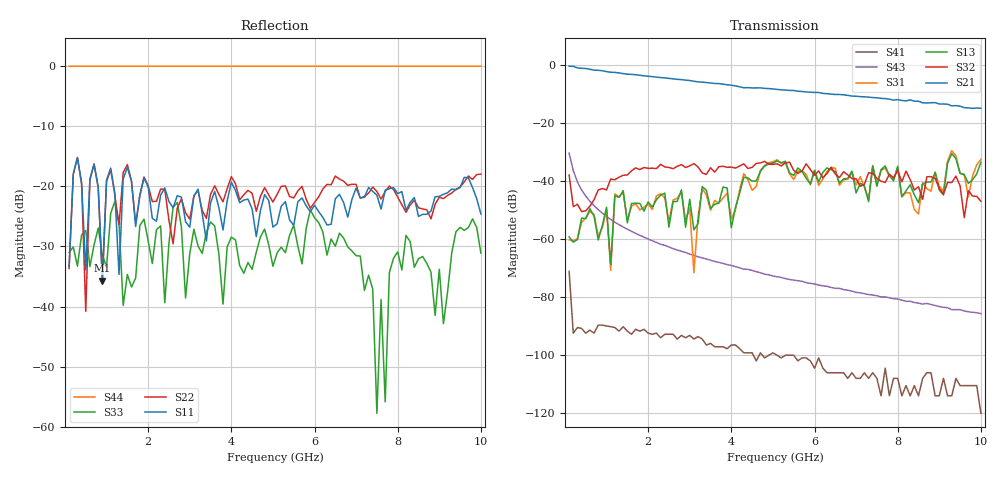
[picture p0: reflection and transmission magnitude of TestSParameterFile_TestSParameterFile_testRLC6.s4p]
# MHz MA S R 50.0
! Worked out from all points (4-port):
!   100 points, 100 MHz to 10 GHz, reference 50 ohm
!   strongest paths, dB at 100 MHz, 2.6 GHz, 5.1 GHz, 7.6 GHz, 10 GHz:
!     S21: -0.4, -4.8, -8.4, -11.5, -14.9
!     S32: -38.0, -35.7, -34.0, -40.0, -46.9
!     S13: -59.2, -47.1, -33.1, -36.0, -33.6
!     S31: -60.2, -46.5, -32.7, -36.2, -32.5
!     S43: -30.4, -63.3, -73.0, -79.9, -85.7
!     S41: -71.1, -92.8, -100.0, -114.0, -120.0
!   lowest |S11| = -35.7 dB at 900 MHz (marker M1), VSWR 1.03, Z = 49.2 - j1.39 ohm
!   |S11| at or under -10 dB: start of sweep to end of sweep
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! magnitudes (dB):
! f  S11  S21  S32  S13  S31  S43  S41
! 100 MHz  -33.3  -0.4  -38.0  -59.2  -60.2  -30.4  -71.1
! 900 MHz  -35.7  -2.0  -42.6  -55.3  -56.0  -51.1  -89.6
! 3.1 GHz  -21.6  -5.6  -34.0  -56.8  -71.6  -65.6  -94.4
! 5.9 GHz  -24.2  -9.4  -36.0  -41.0  -41.3  -75.2  -101.9
! 7.5 GHz  -21.5  -11.3  -39.1  -41.8  -41.4  -79.5  -108.0
! 8.2 GHz  -24.0  -12.4  -36.6  -43.4  -44.0  -81.4  -110.5
! 10 GHz  -24.6  -14.9  -46.9  -33.6  -32.5  -85.7  -120.0
